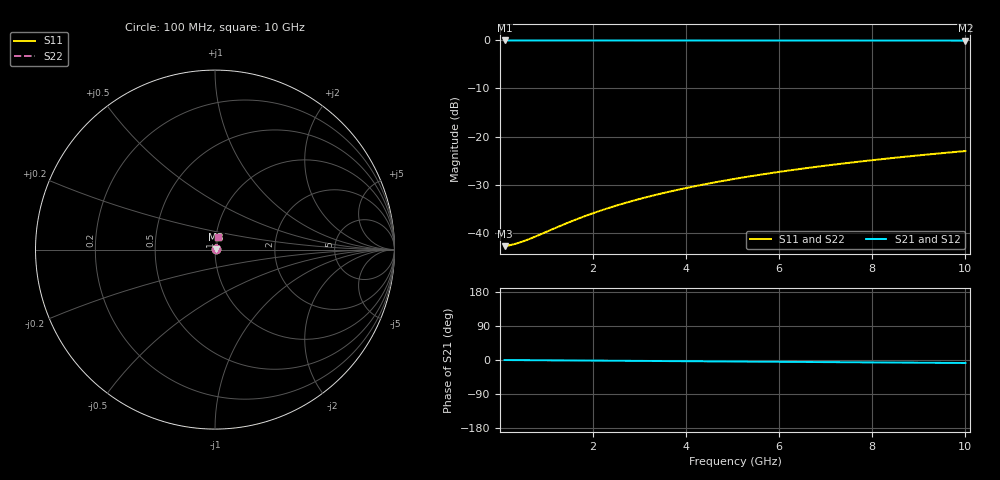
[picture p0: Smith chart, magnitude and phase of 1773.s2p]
# Hz S RI R 50.00
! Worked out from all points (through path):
!   100 points, 100 MHz to 10 GHz, reference 50 ohm
!   highest |S21| = -0.06 dB at 100 MHz (marker M1); lowest = -0.1 dB at 10 GHz (marker M2)
!   group delay of S21, straight-line fit = 2.2 ps
!   lowest |S11| = -42.7 dB at 100 MHz (marker M3), VSWR 1.01, Z = 50.7 + j0.0708 ohm
!   |S11| at or under -10 dB: start of sweep to end of sweep
!   |S22| runs from -42.7 to -23.0 dB; largest |S21 - S12| = 0
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1e8  0.00729 0.000698  0.9927 -0.00138  0.9927 -0.00138  0.00729 0.000698
2e8  0.00734 0.0014  0.9927 -0.00275  0.9927 -0.00275  0.00734 0.0014
3e8  0.00738 0.00209  0.9926 -0.00413  0.9926 -0.00413  0.00738 0.00209
4e8  0.00741 0.00279  0.9926 -0.0055  0.9926 -0.0055  0.00741 0.00279
6e8  0.00748 0.00418  0.9925 -0.00826  0.9925 -0.00826  0.00748 0.00418
8e8  0.00754 0.00558  0.9924 -0.011  0.9924 -0.011  0.00754 0.00558
1.4e9  0.00775 0.00976  0.9922 -0.0193  0.9922 -0.0193  0.00775 0.00976
1.8e9  0.00791 0.0125  0.992 -0.0248  0.992 -0.0248  0.00791 0.0125
2.2e9  0.0081 0.0153  0.9918 -0.0303  0.9918 -0.0303  0.0081 0.0153
2.6e9  0.00832 0.0181  0.9915 -0.0357  0.9915 -0.0357  0.00832 0.0181
3e9  0.00857 0.0209  0.9912 -0.0412  0.9912 -0.0412  0.00857 0.0209
3.4e9  0.00884 0.0237  0.9909 -0.0467  0.9909 -0.0467  0.00884 0.0237
3.8e9  0.00915 0.0264  0.9905 -0.0522  0.9905 -0.0522  0.00915 0.0264
4.2e9  0.00948 0.0292  0.9901 -0.0577  0.9901 -0.0577  0.00948 0.0292
4.6e9  0.00984 0.032  0.9896 -0.0632  0.9896 -0.0632  0.00984 0.032
5.1e9  0.0103 0.0354  0.989 -0.07  0.989 -0.07  0.0103 0.0354
5.9e9  0.0112 0.0409  0.9879 -0.0809  0.9879 -0.0809  0.0112 0.0409
6.7e9  0.0122 0.0464  0.9867 -0.0919  0.9867 -0.0919  0.0122 0.0464
7.5e9  0.0134 0.0518  0.9853 -0.1027  0.9853 -0.1027  0.0134 0.0518
8.4e9  0.0148 0.0579  0.9835 -0.1149  0.9835 -0.1149  0.0148 0.0579
9.2e9  0.0162 0.0633  0.9818 -0.1258  0.9818 -0.1258  0.0162 0.0633
1e10  0.0177 0.0686  0.98 -0.1365  0.98 -0.1365  0.0177 0.0686
